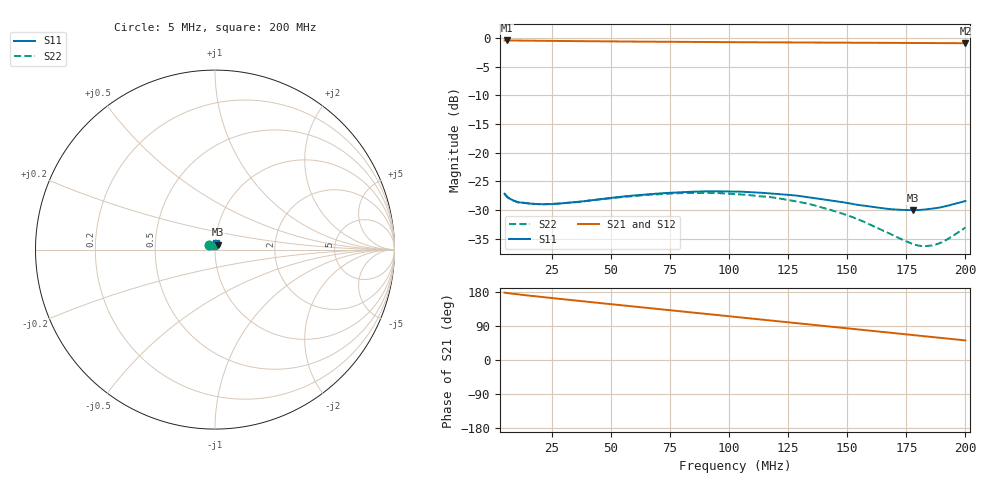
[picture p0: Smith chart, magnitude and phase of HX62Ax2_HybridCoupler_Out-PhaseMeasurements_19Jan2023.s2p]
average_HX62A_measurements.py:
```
#!/usr/bin/env python3
#-*- coding: utf-8 -*-

#Simple script to averge the magnitude of S21 for the In-phase and Out-of-phase HX62A S-parameter measurements.

import numpy as np

#Read in the two files and get the data.
files = ['HX62Ax2_HybridCoupler_In-PhaseMeasurements_19Jan2023.s2p', 'HX62Ax2_HybridCoupler_Out-PhaseMeasurements_19Jan2023.s2p']

freqs, S21s, S12s = [], [], []
for file in files:
    f = open(file, 'r')

    freq = [] 
    S21_mag_db = []
    S12_mag_db = []
    
    while True:
        line = f.readline()
        
        #Skip the metadata header.
        if '!' in line or '#' in line:
            continue
        #Look for when we hit the end of the file.
        elif line == '':
            break
        else:
            l = line.split()

            freq.append(float(l[0]))
            S21_mag_db.append(float(l[3]))
            S12_mag_db.append(float(l[5]))

    f.close()

    #Convert from dB to linear so we can properly average
    freq = np.array(freq)   
    S12_mag_db = np.array(S12_mag_db)
    S21_mag_db = np.array(S21_mag_db)

    S21_mag = 10**(S21_mag_db / 20.0)
    S12_mag = 10**(S12_mag_db / 20.0)

    freqs.append(freq)
    S21s.append(S21_mag)
    S12s.append(S12_mag)

freqs = np.array(freqs) 

#Average and then convert back to dB.
#The extra factor of 1/2 is from the fact that these parameters were measured using two HX62As.
S21s = np.array(S21s)
S21 = np.mean(S21s, axis=0)
S21 = 20.0*np.log10(S21) /2.0

S12s = np.array(S12s)
S12 = np.mean(S12s, axis=0)
S12 = 20.0*np.log10(S12) / 2.0

#Write the average to file which can be read in as a "correction" to the FEE forward gain calculation in compute_IMF.py.
header = """HX62A Scattering Parameters
Freq [Hz]             |S21| [dB]             |S12| [dB]
"""
np.savetxt('HX62A_Insertion_Loss.txt', np.c_[freqs[0,:].view(float), S21.view(float), S12.view(float)], header=header)
```
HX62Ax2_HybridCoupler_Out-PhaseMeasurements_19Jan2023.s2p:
# Hz S DB R 50
! CMT, M5045, 22160017, 22.4.3/2
! Date: 1/19/2023 23:18:23
! Data: Format (Calibration Info)
! Freq	S11:dB/Ang(F2)	S21:dB/Ang(F2)	S12:dB/Ang(F2)	S22:dB/Ang(F2)
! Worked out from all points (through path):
!   1001 points, 5 MHz to 200 MHz, reference 50 ohm
!   highest |S21| = -0.42 dB at 6.17 MHz (marker M1); lowest = -0.9 dB at 200 MHz (marker M2)
!   lowest |S11| = -30.0 dB at 177.8 MHz (marker M3), VSWR 1.07, Z = 51.4 + j2.86 ohm
!   |S11| at or under -10 dB: start of sweep to end of sweep
!   |S22| runs from -36.3 to -27.0 dB; largest |S21 - S12| = 0.00049
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5000000  -27.15 141.2  -0.43 177.6  -0.43 177.6  -27.19 141.2
6170000  -27.72 142.2  -0.42 176.6  -0.43 176.6  -27.75 142.4
1.085e7  -28.66 142.2  -0.44 173.1  -0.44 173.1  -28.67 142.3
2.1575e7  -28.99 127.4  -0.48 165.8  -0.49 165.8  -28.99 126.8
5.0435e7  -27.87 95.8  -0.59 147.0  -0.59 147.0  -27.92 94.3
7.7345e7  -26.96 73.3  -0.67 129.9  -0.67 129.8  -27.09 70.5
1.025e8  -26.76 58.3  -0.72 113.9  -0.73 113.9  -27.21 52.8
1.41305e8  -28.24 46.5  -0.80 89.2  -0.80 89.2  -29.79 34.4
1.7777e8  -30.03 61.9  -0.86 66.0  -0.86 66.0  -35.93 56.1
1.87715e8  -29.65 70.8  -0.88 59.6  -0.88 59.6  -35.98 81.3
2e8  -28.44 80.0  -0.90 51.7  -0.91 51.7  -33.05 103.7
